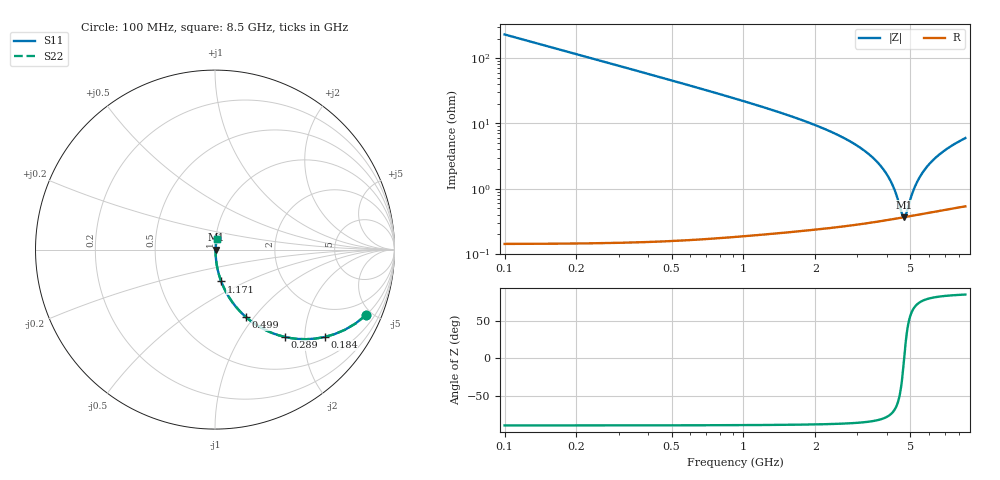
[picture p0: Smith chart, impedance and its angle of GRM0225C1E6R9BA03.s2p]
!Murata Part Number: GRM0225C1E6R9BA03
!These Parameters are Measured in Series Mode Connection
!Data Generated on Mar 30, 2021
!  o--ll--o
!Port1  Port2
!  o------o
!Operation Temp=25[degC], DC Bias Voltage=0[V]
!Freq. Start=100[MHz] Stop=9[GHz] 401[Steps]
# Hz S RI R 50
!Freq.(Hz) S11(Real) S11(Imag) S21(Real) S21(Imag) S12(Real) S12(Imag) S22(Real) S22(Imag)
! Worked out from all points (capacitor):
!   401 points, 100 MHz to 8.5 GHz, reference 50 ohm
!   read as one part in series: C = 6.9 pF near 142 MHz
!   lowest |Z| = 365 mohm at 4.699 GHz (marker M1)
!   series resonance near 4.71 GHz, so ESL is about 170 pH
!   S11 on the Smith chart (normalised r, x): 100 MHz: 1.00, -4.61; 184 MHz: 1.00, -2.50; 289 MHz: 1.00, -1.59; 499 MHz: 1.00, -0.91; 1.171 GHz: 1.00, -0.37; 8.5 GHz: 1.01, +0.12
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1e8  0.8415 -0.3649  0.1585 0.3649  0.1585 0.3649  0.8415 -0.3649
1.84e8  0.6102 -0.4871  0.3898 0.4871  0.3898 0.4871  0.6102 -0.4871
2.89e8  0.3874 -0.4862  0.6126 0.4862  0.6126 0.4862  0.3874 -0.4862
3.94e8  0.253 -0.4334  0.747 0.4334  0.747 0.4334  0.253 -0.4334
4.99e8  0.1734 -0.3769  0.8266 0.3769  0.8266 0.3769  0.1734 -0.3769
7.51e8  0.0833 -0.2735  0.9167 0.2735  0.9167 0.2735  0.0833 -0.2735
1.171e9  0.0346 -0.1775  0.9654 0.1775  0.9654 0.1775  0.0346 -0.1775
1.507e9  0.0204 -0.1338  0.9796 0.1338  0.9796 0.1338  0.0204 -0.1338
2.914e9  0.00508 -0.048  0.9949 0.048  0.9949 0.048  0.00508 -0.048
3.754e9  0.00365 -0.022  0.9964 0.022  0.9964 0.022  0.00365 -0.022
4.048e9  0.00352 -0.0146  0.9965 0.0146  0.9965 0.0146  0.00352 -0.0146
4.3e9  0.00351 -0.00874  0.9965 0.00874  0.9965 0.00874  0.00351 -0.00874
4.615e9  0.00359 -0.00195  0.9964 0.00195  0.9964 0.00195  0.00359 -0.00195
4.699e9  0.00363 -0.000221  0.9964 0.000221  0.9964 0.000221  0.00363 -0.000221
4.783e9  0.00367 0.00147  0.9963 -0.00147  0.9963 -0.00147  0.00367 0.00147
5.035e9  0.00384 0.00638  0.9962 -0.00638  0.9962 -0.00638  0.00384 0.00638
5.224e9  0.00399 0.0099  0.996 -0.0099  0.996 -0.0099  0.00399 0.0099
5.434e9  0.00418 0.0137  0.9958 -0.0137  0.9958 -0.0137  0.00418 0.0137
5.707e9  0.00446 0.0184  0.9955 -0.0184  0.9955 -0.0184  0.00446 0.0184
6.316e9  0.00521 0.0282  0.9948 -0.0282  0.9948 -0.0282  0.00521 0.0282
7.114e9  0.00638 0.04  0.9936 -0.04  0.9936 -0.04  0.00638 0.04
8.5e9  0.00878 0.0585  0.9912 -0.0585  0.9912 -0.0585  0.00878 0.0585
